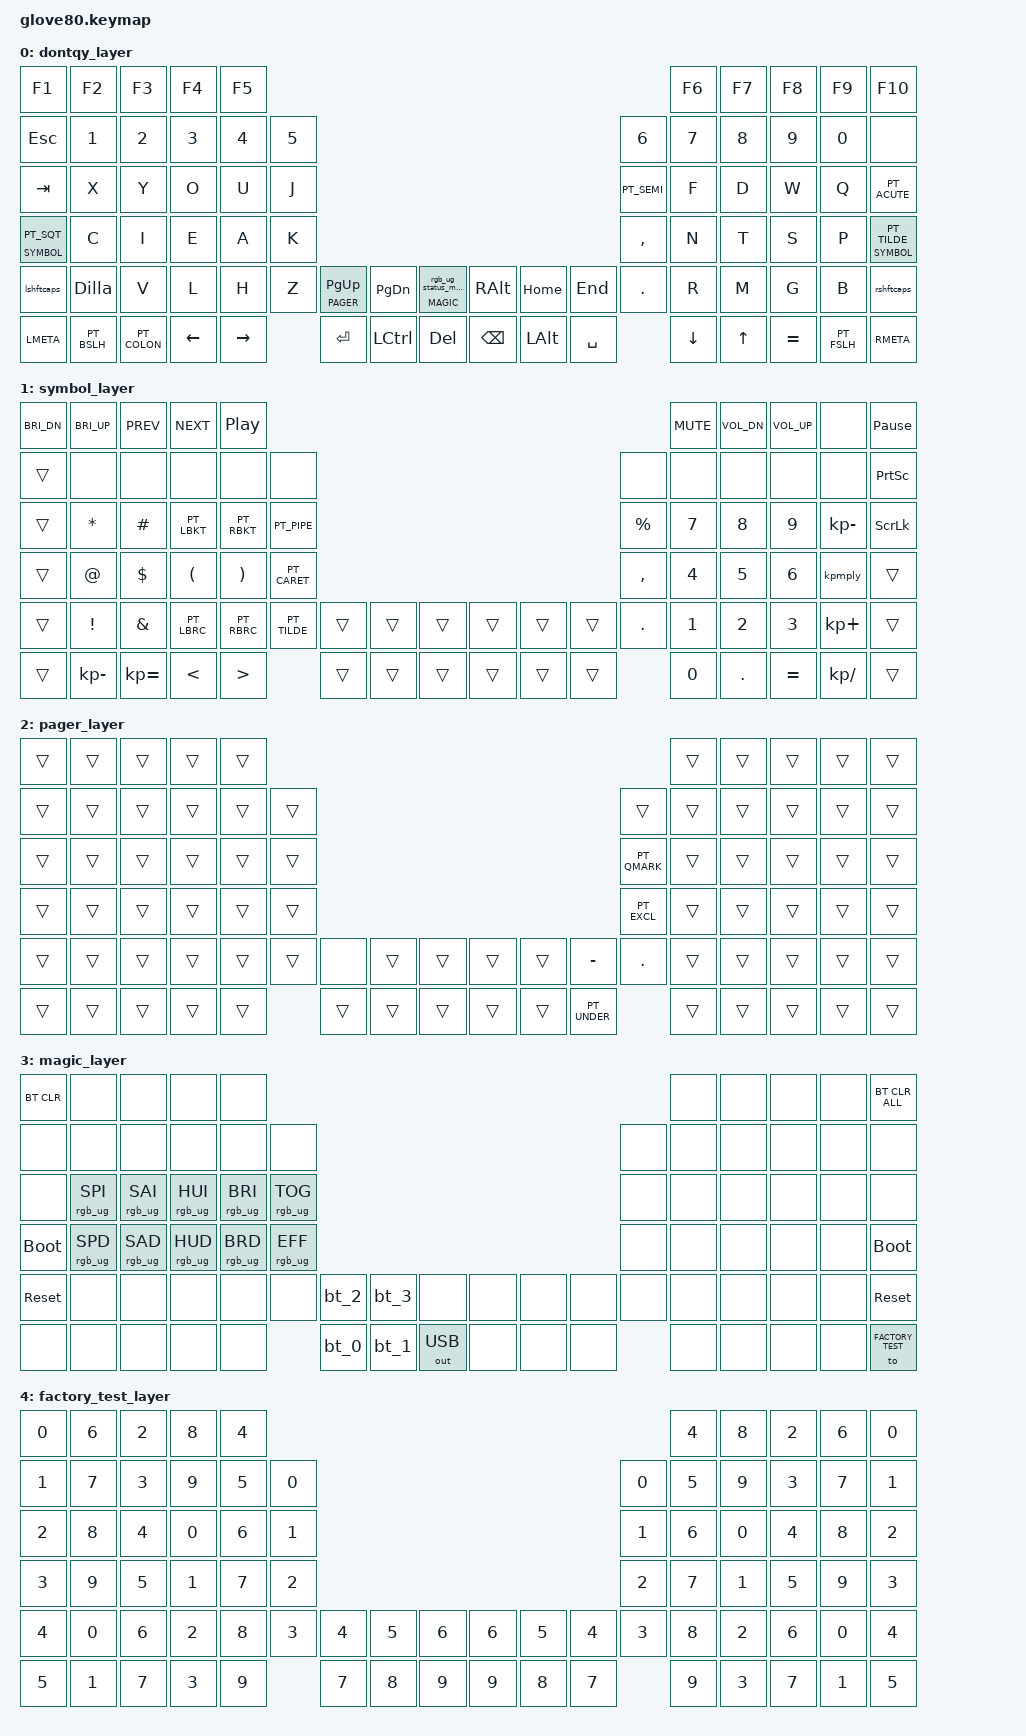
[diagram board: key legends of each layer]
/*
 * Copyright (c) 2020 The ZMK Contributors
 *
 * SPDX-License-Identifier: MIT
 */

#include <behaviors.dtsi>
#include <dt-bindings/zmk/keys.h> // https://github.com/zmkfirmware/zmk/blob/main/app/include/dt-bindings/zmk/keys.h
#include <dt-bindings/zmk/bt.h>
#include <dt-bindings/zmk/ext_power.h>
#include <dt-bindings/zmk/outputs.h>
#include <dt-bindings/zmk/rgb.h>

#include <dt-bindings/zmk/hid_usage.h>
#include <dt-bindings/zmk/hid_usage_pages.h>
#include <dt-bindings/zmk/modifiers.h>

#define HYPER LC(LS(LG(LALT)))

// Portuguese layout (ABNT2) keys
// https://github.com/joelspadin/zmk-locale-generator/releases/download/v1.3.2/keys_pt_abnt2.h
#define PT_C_CEDILLA (ZMK_HID_USAGE(HID_USAGE_KEY, HID_USAGE_KEY_KEYBOARD_SEMICOLON_AND_COLON))
#define C_Dilla (PT_C_CEDILLA)
#define PT_SINGLE_QUOTE (ZMK_HID_USAGE(HID_USAGE_KEY, HID_USAGE_KEY_KEYBOARD_GRAVE_ACCENT_AND_TILDE))
#define PT_SQT (PT_SINGLE_QUOTE)
#define PT_BACKSLASH (ZMK_HID_USAGE(HID_USAGE_KEY, HID_USAGE_KEY_KEYBOARD_NON_US_BACKSLASH_AND_PIPE))
#define PT_BSLH (PT_BACKSLASH)
#define PT_COLON (LS(ZMK_HID_USAGE(HID_USAGE_KEY, HID_USAGE_KEY_KEYBOARD_SLASH_AND_QUESTION_MARK)))
#define PT_SLASH (ZMK_HID_USAGE(HID_USAGE_KEY, HID_USAGE_KEY_KEYBOARD_INTERNATIONAL1))
#define PT_FSLH (PT_SLASH)
#define PT_SEMICOLON (ZMK_HID_USAGE(HID_USAGE_KEY, HID_USAGE_KEY_KEYBOARD_SLASH_AND_QUESTION_MARK))
#define PT_SEMI (PT_SEMICOLON)
#define PT_ACUTE (ZMK_HID_USAGE(HID_USAGE_KEY, HID_USAGE_KEY_KEYBOARD_LEFT_BRACKET_AND_LEFT_BRACE))
#define PT_TILDE (ZMK_HID_USAGE(HID_USAGE_KEY, HID_USAGE_KEY_KEYBOARD_APOSTROPHE_AND_QUOTE))
#define PT_LEFT_BRACKET (ZMK_HID_USAGE(HID_USAGE_KEY, HID_USAGE_KEY_KEYBOARD_RIGHT_BRACKET_AND_RIGHT_BRACE))
#define PT_LBKT (PT_LEFT_BRACKET)
#define PT_RIGHT_BRACKET (ZMK_HID_USAGE(HID_USAGE_KEY, HID_USAGE_KEY_KEYBOARD_BACKSLASH_AND_PIPE))
#define PT_RBKT (PT_RIGHT_BRACKET)
#define PT_PIPE (LS(ZMK_HID_USAGE(HID_USAGE_KEY, HID_USAGE_KEY_KEYBOARD_NON_US_BACKSLASH_AND_PIPE)))
#define PT_CARET (LS(ZMK_HID_USAGE(HID_USAGE_KEY, HID_USAGE_KEY_KEYBOARD_APOSTROPHE_AND_QUOTE)))
#define PT_LEFT_BRACE (LS(ZMK_HID_USAGE(HID_USAGE_KEY, HID_USAGE_KEY_KEYBOARD_RIGHT_BRACKET_AND_RIGHT_BRACE)))
#define PT_LBRC (PT_LEFT_BRACE)
#define PT_RIGHT_BRACE (LS(ZMK_HID_USAGE(HID_USAGE_KEY, HID_USAGE_KEY_KEYBOARD_BACKSLASH_AND_PIPE)))
#define PT_RBRC (PT_RIGHT_BRACE)
#define PT_UNDERSCORE (LS(ZMK_HID_USAGE(HID_USAGE_KEY, HID_USAGE_KEY_KEYBOARD_MINUS_AND_UNDERSCORE)))
#define PT_UNDER (PT_UNDERSCORE)
#define PT_QUESTION (RA(ZMK_HID_USAGE(HID_USAGE_KEY, HID_USAGE_KEY_KEYBOARD_W)))
#define PT_QMARK (PT_QUESTION)
#define PT_EXCLAMATION (LS(ZMK_HID_USAGE(HID_USAGE_KEY, HID_USAGE_KEY_KEYBOARD_1_AND_EXCLAMATION)))
#define PT_EXCL (PT_EXCLAMATION)


#define KP_mply (KP_MULTIPLY)

/* &mo DONTQY -> Momentary Layer 0 toggled by keypress
 * &lt SYMBOL PT_SQT -> Layer_tap, Layer 1 when held send keycode ' when tapped
 * &mt LSHIFT CAPS -> Mod-Tap behavior, shift when held caps when tapped
 * 
 *
 *
 * zmk key codes can be consulted here: https://zmk.dev/docs/codes
 *
 *
 */


/* none_layer { */
/*             bindings = < */
/*             &none           &none         &none        &none       &none                                                                                               &none      &none        &none         &none        &none */
/*             &none           &none         &none        &none       &none       &none                                                                      &none        &none      &none        &none         &none        &none */
/*             &none           &none         &none        &none       &none       &none                                                                      &none        &none      &none        &none         &none        &none */
/*             &none           &none         &none        &none       &none       &none                                                                      &none        &none      &none        &none         &none        &none */
/*             &none           &none         &none        &none       &none       &none     &none     &none   &none             &none     &none    &none     &none        &none      &none        &none         &none        &none */
/*             &none           &none         &none        &none       &none                 &none     &none   &none             &none     &none    &none                  &none      &none        &none         &none        &none */
/*             >; */
/*         }; */


// layers
#define DONTQY 0 // DEFAULT
#define SYMBOL 1 // LOWER 1
#define PAGER  2
#define MAGIC  3
#define FACTORY_TEST 4

/ { // root device tree Node
    behaviors {
        // For the "layer" key, it'd nice to be able to use it as either a shift or a toggle.
        // Configure it as a tap dance, so the first tap (or hold) is a &mo and the second tap is a &to
        layer_td: tap_dance_0 {
            compatible = "zmk,behavior-tap-dance";
            label = "LAYER_TAP_DANCE";
            #binding-cells = <0>;
            tapping-term-ms = <200>;
            bindings = <&mo SYMBOL>, <&to SYMBOL>;
        };

        magic: magic_hold_tap {
            compatible = "zmk,behavior-hold-tap";
            label = "MAGIC_HOLD_TAP";
            #binding-cells = <2>;
            flavor = "tap-preferred";
            tapping-term-ms = <200>;
            bindings = <&mo>, <&rgb_ug_status_macro>;
        };
      
        underspc: space_underline { // don't like the lagging when spacing
            compatible = "zmk,behavior-tap-dance";
            #binding-cells = <0>;
            tapping-term-ms = <200>;
            bindings = <&kp SPACE>, <&kp LS(MINUS)>;
        };

        lshftcaps: tap_dance_lshftcaps {
            compatible = "zmk,behavior-tap-dance";
            #binding-cells = <0>;
            tapping-term-ms = <200>;
            bindings = <&kp LSHFT>, <&kp CAPS>;
        };
      
        rshftcaps: tap_dance_rshftcaps {
            compatible = "zmk,behavior-tap-dance";
            #binding-cells = <0>;
            tapping-term-ms = <200>;
            bindings = <&kp RSHFT>, <&kp CAPS>;
        };
      
    };

    macros {
        rgb_ug_status_macro: rgb_ug_status_macro_0 {
            label = "RGB_UG_STATUS";
            compatible = "zmk,behavior-macro";
            #binding-cells = <0>;
            bindings
                = <&rgb_ug RGB_STATUS>;
        };

        bt_0: bt_profile_macro_0 {
            label = "BT_0";
            compatible = "zmk,behavior-macro";
            #binding-cells = <0>;
            bindings
                = <&out OUT_BLE>,
                  <&bt BT_SEL 0>;
        };

        bt_1: bt_profile_macro_1 {
            label = "BT_1";
            compatible = "zmk,behavior-macro";
            #binding-cells = <0>;
            bindings
                = <&out OUT_BLE>,
                  <&bt BT_SEL 1>;
        };

        bt_2: bt_profile_macro_2 {
            label = "BT_2";
            compatible = "zmk,behavior-macro";
            #binding-cells = <0>;
            bindings
                = <&out OUT_BLE>,
                  <&bt BT_SEL 2>;
        };

        bt_3: bt_profile_macro_3 {
            label = "BT_3";
            compatible = "zmk,behavior-macro";
            #binding-cells = <0>;
            bindings
                = <&out OUT_BLE>,
                  <&bt BT_SEL 3>;
        };
    };

    keymap {
      compatible = "zmk,keymap"; // this is a prerequisite

        dontqy_layer {
          // default moergo layer
          // ---------------------------------------------------------------------------------------------------------------------------------
          // |  F1   |  F2 |  F3 |  F4  |  F5  |                                                               |  F6   |  F7   |  F8  |   F9  |  F10 |
          // |  =    |  1  |  2  |  3   |  4   |  5   |                                                 |  6   |   7   |   8   |  9   |   0   |   -  |
          // |  TAB  |  Q  |  W  |  E   |  R   |  T   |                                                 |  Y   |   U   |   I   |  O   |   P   |   \  |
          // |  ESC  |  A  |  S  |  D   |  F   |  G   |                                                 |  H   |   J   |   K   |  L   |   ;   |   '  |
          // |   `   |  Z  |  X  |  C   |  V   |  B   | LSHFT | LCTRL | LOWER | | LGUI  | RCTRL | RSHFT |  N   |   M   |   ,   |  .   |   /   | PGUP |
          // | MAGIC | HOME| END | LEFT | RIGHT|      | BSPC  | DEL   | LALT  | | RALT  | RET   | SPACE |      |  UP   | DOWN  |  [   |   ]   | PGDN |

          bindings = <
          &kp F1            &kp F2        &kp F3       &kp F4      &kp F5                                                                                              &kp F6     &kp F7       &kp F8        &kp F9       &kp F10
          &kp ESC           &kp N1        &kp N2       &kp N3      &kp N4      &kp N5                                                                     &kp N6       &kp N7     &kp N8       &kp N9        &kp N0       &none
          &kp TAB           &kp X         &kp Y        &kp O       &kp U       &kp J                                                                      &kp PT_SEMI  &kp F      &kp D        &kp W         &kp Q        &kp PT_ACUTE
          &lt SYMBOL PT_SQT &kp C         &kp I        &kp E       &kp A       &kp K                                                                      &kp COMMA    &kp N      &kp T        &kp S         &kp P        &lt SYMBOL PT_TILDE 
          &lshftcaps        &kp C_Dilla   &kp V        &kp L       &kp H       &kp Z      &lt PAGER PG_UP &kp PG_DN &magic MAGIC 0  &kp RALT &kp HOME &kp END   &kp DOT      &kp R      &kp M        &kp G         &kp B        &rshftcaps
          &kp LMETA         &kp PT_BSLH   &kp PT_COLON &kp LEFT    &kp RIGHT              &kp RET   &kp LCTRL &kp DEL         &kp BSPC &kp LALT &kp SPACE              &kp DOWN   &kp UP       &kp EQUAL     &kp PT_FSLH  &kp RMETA
          >;
        };

        symbol_layer {
          bindings = <
          &kp C_BRI_DN      &kp C_BRI_UP  &kp C_PREV   &kp C_NEXT  &kp C_PP                                                                                            &kp C_MUTE &kp C_VOL_DN &kp C_VOL_UP  &none        &kp PAUSE_BREAK
          &trans            &none         &none        &none       &none       &none                                                                      &none        &none      &none        &none         &none        &kp PSCRN
          &trans            &kp STAR      &kp HASH     &kp PT_LBKT &kp PT_RBKT &kp PT_PIPE                                                                &kp PRCNT    &kp N7     &kp N8       &kp N9        &kp KP_MINUS &kp SLCK
          &trans            &kp AT        &kp DOLLAR   &kp LPAR    &kp RPAR    &kp PT_CARET                                                               &kp COMMA    &kp N4     &kp N5       &kp N6        &kp KP_mply  &trans
          &trans            &kp EXCL      &kp AMPS     &kp PT_LBRC &kp PT_RBRC &kp PT_TILDE &trans  &trans    &trans          &trans   &trans   &trans    &kp DOT      &kp N1     &kp N2       &kp N3        &kp KP_PLUS  &trans
          &trans            &kp KP_MINUS  &kp KP_EQUAL &kp LT      &kp GT                   &trans  &trans    &trans          &trans   &trans   &trans                 &kp N0     &kp DOT      &kp EQUAL     &kp KP_SLASH &trans
            >;
        };


        pager_layer {
            bindings = <
            &trans          &trans        &trans       &trans      &trans                                                                                              &trans     &trans       &trans        &trans       &trans
            &trans          &trans        &trans       &trans      &trans      &trans                                                                     &trans       &trans     &trans       &trans        &trans       &trans
            &trans          &trans        &trans       &trans      &trans      &trans                                                                     &kp PT_QMARK &trans     &trans       &trans        &trans       &trans
            &trans          &trans        &trans       &trans      &trans      &trans                                                                     &kp PT_EXCL  &trans     &trans       &trans        &trans       &trans
            &trans          &trans        &trans       &trans      &trans      &trans    &none     &trans  &trans            &trans    &trans   &kp MINUS &kp DOT      &trans     &trans       &trans        &trans       &trans
            &trans          &trans        &trans       &trans      &trans                &trans    &trans  &trans            &trans    &trans   &kp PT_UNDER           &trans     &trans       &trans        &trans       &trans
            >;
        };
        
        magic_layer {
            bindings = <
            &bt BT_CLR      &none         &none        &none       &none                                                                                               &none      &none        &none         &none        &bt BT_CLR_ALL
            &none           &none         &none        &none       &none       &none                                                                      &none        &none      &none        &none         &none        &none
            &none           &rgb_ug RGB_SPI &rgb_ug RGB_SAI &rgb_ug RGB_HUI &rgb_ug RGB_BRI &rgb_ug RGB_TOG                                               &none        &none      &none        &none         &none        &none
            &bootloader     &rgb_ug RGB_SPD &rgb_ug RGB_SAD &rgb_ug RGB_HUD &rgb_ug RGB_BRD &rgb_ug RGB_EFF                                               &none        &none      &none        &none         &none        &bootloader
            &sys_reset      &none         &none        &none       &none       &none        &bt_2     &bt_3   &none            &none     &none     &none  &none        &none      &none        &none         &none        &sys_reset
            &none           &none         &none        &none       &none                    &bt_0     &bt_1   &out OUT_USB     &none     &none     &none               &none      &none        &none         &none        &to FACTORY_TEST
            >;
        };

        factory_test_layer {
            bindings = <
            &kp N0   &kp N6   &kp N2   &kp N8   &kp N4                                                                              &kp N4   &kp N8   &kp N2   &kp N6   &kp N0
            &kp N1   &kp N7   &kp N3   &kp N9   &kp N5   &kp N0                                                            &kp N0   &kp N5   &kp N9   &kp N3   &kp N7   &kp N1
            &kp N2   &kp N8   &kp N4   &kp N0   &kp N6   &kp N1                                                            &kp N1   &kp N6   &kp N0   &kp N4   &kp N8   &kp N2
            &kp N3   &kp N9   &kp N5   &kp N1   &kp N7   &kp N2                                                            &kp N2   &kp N7   &kp N1   &kp N5   &kp N9   &kp N3
            &kp N4   &kp N0   &kp N6   &kp N2   &kp N8   &kp N3   &kp N4   &kp N5   &kp N6      &kp N6   &kp N5   &kp N4   &kp N3   &kp N8   &kp N2   &kp N6   &kp N0   &kp N4
            &kp N5   &kp N1   &kp N7   &kp N3   &kp N9            &kp N7   &kp N8   &kp N9      &kp N9   &kp N8   &kp N7            &kp N9   &kp N3   &kp N7   &kp N1   &kp N5
            >;
        };
    };
};
